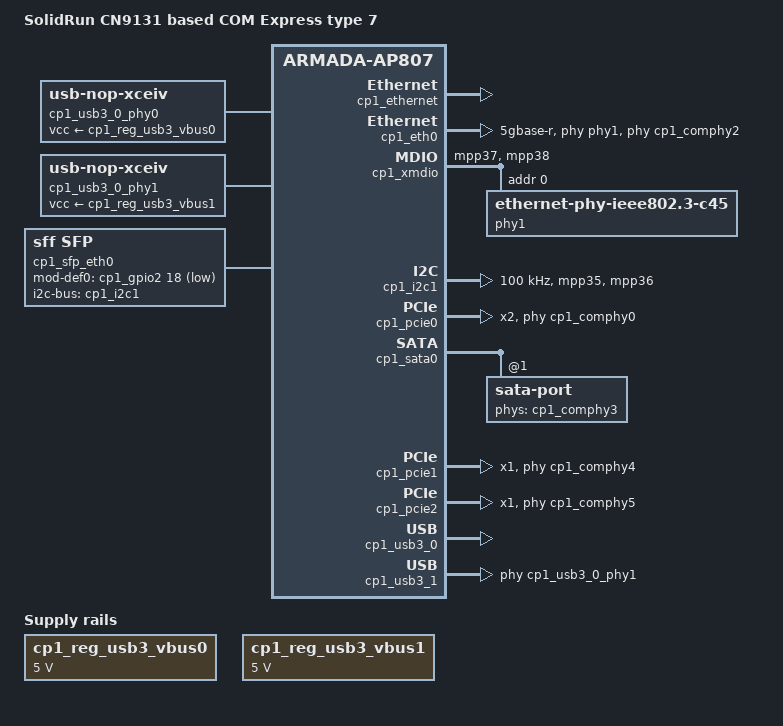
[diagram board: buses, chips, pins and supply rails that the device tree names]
// SPDX-License-Identifier: (GPL-2.0+ OR MIT)
/*
 * Copyright SolidRun Ltd.
 *
 * Device tree for the CN9131 COM Express Type 7 board.
 */

#include "cn9130-cex7.dts"

/ {
        model = "SolidRun CN9131 based COM Express type 7";
        compatible = "marvell,cn9131", "marvell,cn9130",
                     "marvell,armada-ap807-quad", "marvell,armada-ap807";

        aliases {
                gpio3 = &cp1_gpio1;
                gpio4 = &cp1_gpio2;
                ethernet3 = &cp1_eth0;
        };
        cp1_reg_usb3_vbus0: cp1_usb3_vbus@0 {
                compatible = "regulator-fixed";
                regulator-name = "cp1-xhci0-vbus";
                regulator-min-microvolt = <5000000>;
                regulator-max-microvolt = <5000000>;
                enable-active-high;
        };
        cp1_usb3_0_phy0: cp1_usb3_phy0 {
                compatible = "usb-nop-xceiv";
                vcc-supply = <&cp1_reg_usb3_vbus0>;
        };
        cp1_reg_usb3_vbus1: cp1_usb3_vbus@1 {
                compatible = "regulator-fixed";
                regulator-name = "cp1-xhci1-vbus";
                regulator-min-microvolt = <5000000>;
                regulator-max-microvolt = <5000000>;
                enable-active-high;
        };
        cp1_usb3_0_phy1: cp1_usb3_phy@1 {
                compatible = "usb-nop-xceiv";
                vcc-supply = <&cp1_reg_usb3_vbus1>;
        };
        cp1_sfp_eth0: sfp_eth0{
                compatible = "sff,sfp";
                i2c-bus = <&cp1_i2c1>;
                mod-def0-gpio = <&cp1_gpio2 18  GPIO_ACTIVE_LOW>;
                pinctrl-names = "default";
                pinctrl-0 = <&cp1_sfp_present_pins>;
                status = "okay";
        };
};

/* Instantiate the first slave CP115  */

#define CP11X_NAME                cp1
#define CP11X_BASE                f4000000
#define CP11X_PCIEx_MEM_BASE(iface) (0xe2000000 + (iface * 0x2000000))
#define CP11X_PCIEx_MEM_SIZE(iface) 0xf00000
#define CP11X_PCIE0_BASE        f4600000
#define CP11X_PCIE1_BASE        f4620000
#define CP11X_PCIE2_BASE        f4640000

#include "armada-cp115.dtsi"

#undef CP11X_NAME
#undef CP11X_BASE
#undef CP11X_PCIEx_MEM_BASE
#undef CP11X_PCIEx_MEM_SIZE
#undef CP11X_PCIE0_BASE
#undef CP11X_PCIE1_BASE
#undef CP11X_PCIE2_BASE

&cp1_crypto {
        status = "disabled";
};

&cp1_ethernet {
        status = "okay";
};

/* 5GE PHY0 */
&cp1_eth0 {
        status = "okay";
        phy-mode = "5gbase-r";
        phys = <&cp1_comphy2 0>;
        phy = <&phy1>;
        sfp = <&cp1_sfp_eth0>;
};

&cp1_gpio1 {
        status = "okay";
};

&cp1_gpio2 {
        status = "okay";
};

&cp1_xmdio {
        status = "okay";
        pinctrl-0 = <&cp1_xmdio_pins>;
        phy1: ethernet-phy@0 {
                compatible = "ethernet-phy-ieee802.3-c45";
                reg = <0>;
        };
};

&cp1_i2c1 {
        status = "okay";
        pinctrl-names = "default";
        pinctrl-0 = <&cp1_i2c1_pins>;
        clock-frequency = <100000>;
};

/* PCIE X2 NVME */
&cp1_pcie0 {
        pinctrl-names = "default";
        num-lanes = <2>;
        num-viewport = <8>;
        status = "okay";
        phys = <&cp1_comphy0 0
                &cp1_comphy1 0>;
};

/* SATA 1 */
&cp1_sata0 {
        status = "okay";
        sata-port@1 {
                /* Generic PHY, providing serdes lanes */
                phys = <&cp1_comphy3 1>;
        };
};

/* PCIE X1 WIFI0 */
&cp1_pcie1 {
        pinctrl-names = "default";
        num-lanes = <1>;
        num-viewport = <8>;
        status = "okay";
        phys = <&cp1_comphy4 1>;
};

/* PCIE X1 WIFI1 */
&cp1_pcie2 {
        pinctrl-names = "default";
        num-lanes = <1>;
        num-viewport = <8>;
        status = "okay";
        phys = <&cp1_comphy5 2>;
};

/* PIN Definition */

&cp1_syscon0 {
        cp1_pinctrl: pinctrl {
                compatible = "marvell,cp115-standalone-pinctrl";

                cp1_i2c1_pins: cp1-i2c-pins-1 {
                        marvell,pins = "mpp35", "mpp36";
                        marvell,function = "i2c1";
                };
                cp1_xmdio_pins: cp1_xmdio_pins-0 {
                        marvell,pins = "mpp37", "mpp38";
                        marvell,function = "xg";
                };
                cp1_sfp_present_pins: cp1_sfp_present_pins-0 {
                        marvell,pins = "mpp50";
                        marvell,function = "gpio";
                };
        };
};

&cp1_usb3_0 {
        status = "okay";
        sb-phy = <&cp1_usb3_0_phy0>;
        phy-names = "usb";
};
&cp1_usb3_1 {
        status = "okay";
        usb-phy = <&cp1_usb3_0_phy1>;
        phy-names = "usb";
};
